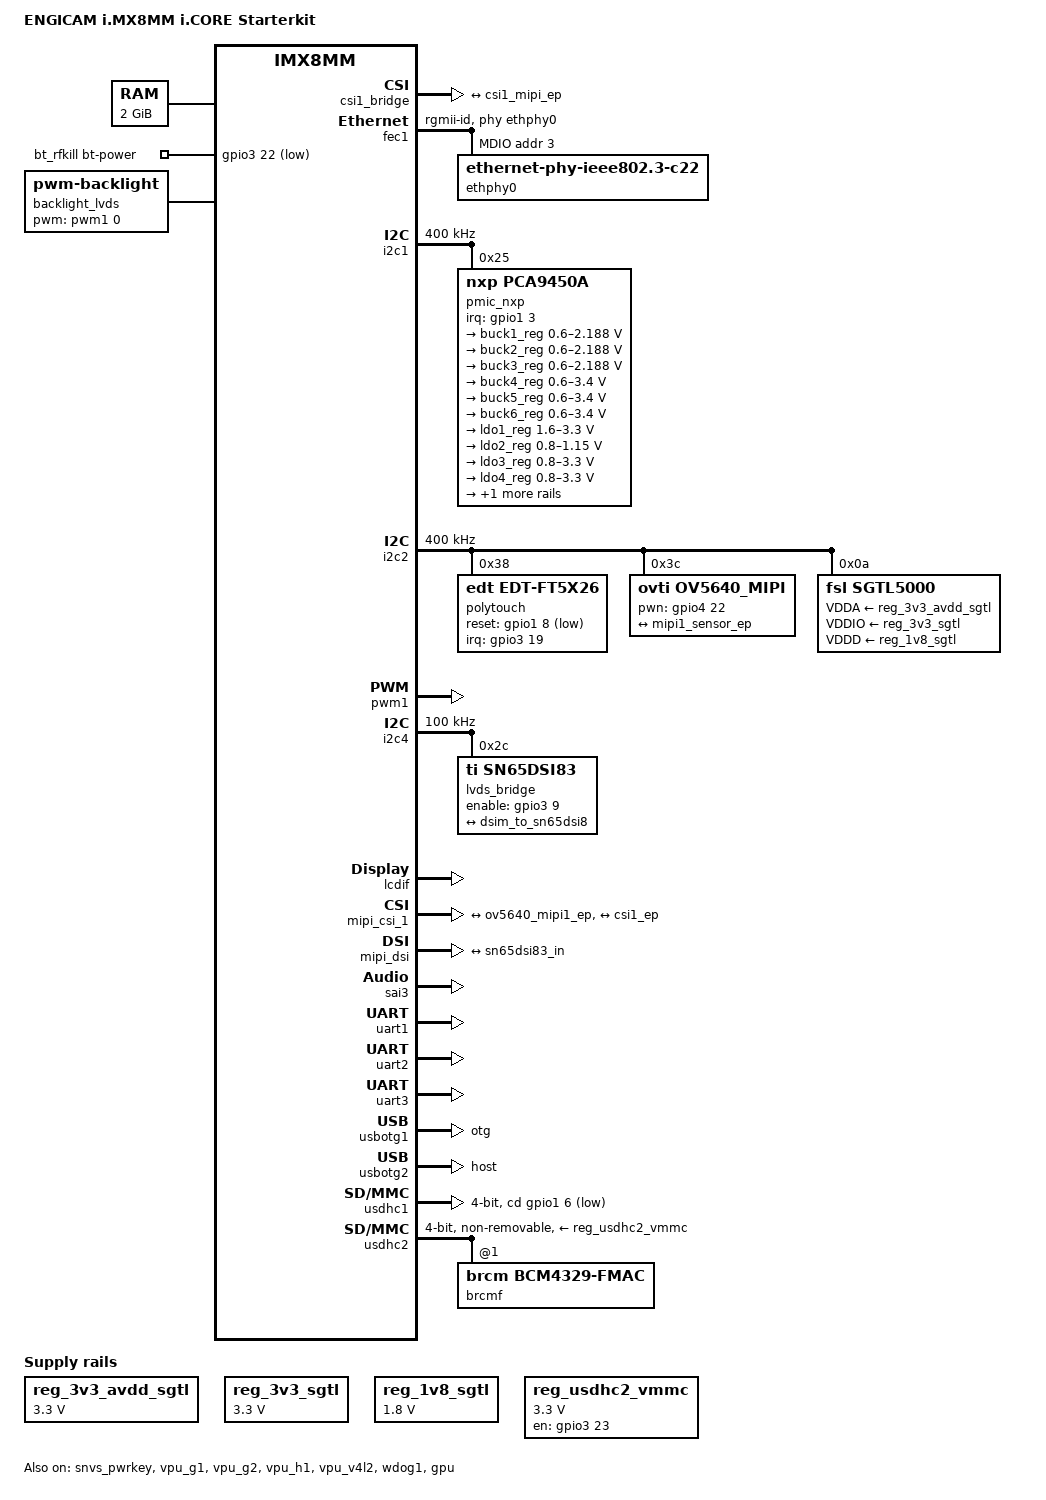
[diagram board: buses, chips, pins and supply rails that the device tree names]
// SPDX-License-Identifier: (GPL-2.0+ OR MIT)
/*
 * Copyright 2020 NXP
 */

/dts-v1/;

#include <dt-bindings/usb/pd.h>
#include "../freescale/imx8mm.dtsi"

/ {
	trusty {
		compatible = "android,trusty-smc-v1";
		ranges;
		#address-cells = <2>;
		#size-cells = <2>;
		trusty-irq {
			compatible = "android,trusty-irq-v1";
			interrupt-ranges = < 0 15 0>;
			ipi-range = <8 15 8>;
		};
		trusty-virtio {
			compatible = "android,trusty-virtio-v1";
		};
		trusty-log {
			compatible = "android,trusty-log-v1";
		};
	};
};

/ {
	firmware {
		android {
			compatible = "android,firmware";
			/* default emmc node used for GSI */
			boot_devices = "soc@0/30800000.bus/30b60000.mmc";
			/* sd card node which used if androidboot.boot_device_root=mmcblk0 */
			boot_devices_mmcblk0 = "soc@0/30800000.bus/30b40000.mmc";
			/* emmc node which used if androidboot.boot_device_root=mmcblk2 */
			boot_devices_mmcblk2 = "soc@0/30800000.bus/30b60000.mmc";
			fstab {
				compatible = "android,fstab";
				system {
					compatible = "android,system";
					dev = "system";
					type = "ext4";
					mnt_flags = "noatime,errors=panic,ro,barrier=1,inode_readahead_blks=8";
					fsmgr_flags = "wait,slotselect,avb,avb_keys=/avb,logical,first_stage_mount";
				};
				system_ext {
					compatible = "android,system_ext";
					dev = "system_ext";
					type = "ext4";
					mnt_flags = "noatime,ro,errors=panic";
					fsmgr_flags = "wait,slotselect,avb,logical,first_stage_mount";
				};
				vendor {
					compatible = "android,vendor";
					dev = "vendor";
					type = "ext4";
					mnt_flags = "noatime,errors=panic,ro,barrier=1,inode_readahead_blks=8";
					fsmgr_flags = "wait,slotselect,avb,logical,first_stage_mount";
				};
				product {
					compatible = "android,product";
					dev = "product";
					type = "ext4";
					mnt_flags = "noatime,errors=panic,ro,barrier=1,inode_readahead_blks=8";
					fsmgr_flags = "wait,slotselect,avb,logical,first_stage_mount";
				};
				metadata {
					compatible = "android,metadata";
					dev = "/dev/block/by-name/metadata";
					type = "ext4";
					mnt_flags = "noatime,nosuid,nodev,discard,sync";
					fsmgr_flags = "wait,formattable,first_stage_mount,check";
				};
			};
			vbmeta {
				/*we need use FirstStageMountVBootV2 if we enable avb*/
				compatible = "android,vbmeta";
				/*parts means the partition witch can be mount in first stage*/
				parts = "vbmeta,dtbo,boot,system,vendor,product";
			};
		};
	};
};

/ {
	model = "ENGICAM i.MX8MM i.CORE Starterkit";
	compatible = "eng,imx8mm-icore", "fsl,imx8mm-evk", "fsl,imx8mm";

	chosen {
		stdout-path = &uart2;
	};

	memory@40000000 {
		device_type = "memory";
		reg = <0x0 0x40000000 0 0x80000000>;
	};

	reg_3v3_avdd_sgtl: reg_3v3_avdd_regulator {
		compatible = "regulator-fixed";
		regulator-name = "3v3_avdd_sgtl";
		regulator-min-microvolt = <3300000>;
		regulator-max-microvolt = <3300000>;
		always-on;
	};

	reg_3v3_sgtl: reg_3v3_sgtl_regulator {
		compatible = "regulator-fixed";
		regulator-name = "3v3_sgtl";
		regulator-min-microvolt = <3300000>;
		regulator-max-microvolt = <3300000>;
		always-on;
	};

	reg_1v8_sgtl: reg_1v8_sgtl_regulator {
		compatible = "regulator-fixed";
		regulator-name = "1v8_sgtl";
		regulator-min-microvolt = <1800000>;
		regulator-max-microvolt = <1800000>;
		always-on;
	};

	reg_usdhc2_vmmc: regulator-usdhc2 {
		compatible = "regulator-fixed";
		pinctrl-names = "default";
		pinctrl-0 = <&pinctrl_reg_usdhc2_vmmc>;
		regulator-name = "WLAN_REG_ON";
		regulator-min-microvolt = <3300000>;
		regulator-max-microvolt = <3300000>;
		gpio = <&gpio3 23 GPIO_ACTIVE_HIGH>;
		enable-active-high;
	};

	bt_rfkill {
		compatible = "fsl,mxc_bt_rfkill";
		bt-power-gpios = <&gpio3 22 GPIO_ACTIVE_LOW>;
		reset-delay-us = <20000>;
		reset-post-delay-ms = <40>;
		status ="okay";
	};

	backlight_lvds: backlight_lvds {
		compatible = "pwm-backlight";
		pinctrl-names = "default";
		pinctrl-0 = <&pinctrl_pwm1>;
		pwms = <&pwm1 0 1000000>;
		brightness-levels = < 0  1  2  3  4  5  6  7  8  9
							10 11 12 13 14 15 16 17 18 19
							20 21 22 23 24 25 26 27 28 29
							30 31 32 33 34 35 36 37 38 39
							40 41 42 43 44 45 46 47 48 49
							50 51 52 53 54 55 56 57 58 59
							60 61 62 63 64 65 66 67 68 69
							70 71 72 73 74 75 76 77 78 79
							80 81 82 83 84 85 86 87 88 89
							90 91 92 93 94 95 96 97 98 99
							100>;
		default-brightness-level = <100>;
		status = "okay";
	};

	sound {
		compatible = "simple-audio-card";
		simple-audio-card,name = "imx8mm-sgtl5000";
		simple-audio-card,format = "i2s";
		simple-audio-card,bitclock-master = <&dailink_master>;
		simple-audio-card,frame-master = <&dailink_master>;
		/*simple-audio-card,mclk-fs = <1>;*/
		simple-audio-card,cpu {
			sound-dai = <&sai3>;
		};

		dailink_master: simple-audio-card,codec {
			sound-dai = <&sgtl5000>;
			clocks = <&clk IMX8MM_CLK_SAI3>;
		};
	};
};

&ddrc {
	operating-points-v2 = <&ddrc_opp_table>;

	ddrc_opp_table: opp-table {
		compatible = "operating-points-v2";

		opp-25M {
			opp-hz = /bits/ 64 <25000000>;
		};

		opp-100M {
			opp-hz = /bits/ 64 <100000000>;
		};

		opp-750M {
			opp-hz = /bits/ 64 <750000000>;
		};
	};
};

&A53_0 {
	cpu-supply = <&buck2_reg>;
};

&A53_1 {
	cpu-supply = <&buck2_reg>;
};

&A53_2 {
	cpu-supply = <&buck2_reg>;
};

&A53_3 {
	cpu-supply = <&buck2_reg>;
};

&csi1_bridge {
	fsl,mipi-mode;
	status = "okay";
	port {
		csi1_ep: endpoint {
			remote-endpoint = <&csi1_mipi_ep>;
		};
	};
};

&fec1 {
	pinctrl-names = "default";
	pinctrl-0 = <&pinctrl_fec1>;
	phy-mode = "rgmii-id";
	phy-handle = <&ethphy0>;
	fsl,magic-packet;
	status = "okay";

	mdio {
		#address-cells = <1>;
		#size-cells = <0>;

		ethphy0: ethernet-phy@3 {
			compatible = "ethernet-phy-ieee802.3-c22";
			reg = <3>;
			at803x,eee-disabled;
			at803x,vddio-1p8v;
		};
	};
};

&i2c1 {
	clock-frequency = <400000>;
	pinctrl-names = "default";
	pinctrl-0 = <&pinctrl_i2c1>;
	status = "okay";

	pmic_nxp: pca9450@25 {
		compatible = "nxp,pca9450a";
		reg = <0x25>;
		pinctrl-0 = <&pinctrl_pmic>;
		pinctrl-names = "default";
		interrupt-parent = <&gpio1>;
		interrupts = <3 IRQ_TYPE_LEVEL_LOW>;

		regulators {
			buck1_reg: BUCK1 {
				regulator-name = "BUCK1";
				regulator-min-microvolt = <600000>;
				regulator-max-microvolt = <2187500>;
				regulator-boot-on;
				regulator-always-on;
				regulator-ramp-delay = <3125>;
				nxp,dvs-run-voltage = <850000>;
				nxp,dvs-standby-voltage = <800000>;
			};

			buck2_reg: BUCK2 {
				regulator-name = "BUCK2";
				regulator-min-microvolt = <600000>;
				regulator-max-microvolt = <2187500>;
				regulator-boot-on;
				regulator-always-on;
				regulator-ramp-delay = <3125>;
			};

			buck3_reg: BUCK3 {
				regulator-name = "BUCK3";
				regulator-min-microvolt = <600000>;
				regulator-max-microvolt = <2187500>;
				regulator-boot-on;
				regulator-always-on;
			};

			buck4_reg: BUCK4 {
				regulator-name = "BUCK4";
				regulator-min-microvolt = <600000>;
				regulator-max-microvolt = <3400000>;
				regulator-boot-on;
				regulator-always-on;
			};

			buck5_reg: BUCK5 {
				regulator-name = "BUCK5";
				regulator-min-microvolt = <600000>;
				regulator-max-microvolt = <3400000>;
				regulator-boot-on;
				regulator-always-on;
			};

			buck6_reg: BUCK6 {
				regulator-name = "BUCK6";
				regulator-min-microvolt = <600000>;
				regulator-max-microvolt = <3400000>;
				regulator-boot-on;
				regulator-always-on;
			};

			ldo1_reg: LDO1 {
				regulator-name = "LDO1";
				regulator-min-microvolt = <1600000>;
				regulator-max-microvolt = <3300000>;
				regulator-boot-on;
				regulator-always-on;
			};

			ldo2_reg: LDO2 {
				regulator-name = "LDO2";
				regulator-min-microvolt = <800000>;
				regulator-max-microvolt = <1150000>;
				regulator-boot-on;
				regulator-always-on;
			};

			ldo3_reg: LDO3 {
				regulator-name = "LDO3";
				regulator-min-microvolt = <800000>;
				regulator-max-microvolt = <3300000>;
				regulator-boot-on;
				regulator-always-on;
			};

			ldo4_reg: LDO4 {
				regulator-name = "LDO4";
				regulator-min-microvolt = <800000>;
				regulator-max-microvolt = <3300000>;
				regulator-boot-on;
				regulator-always-on;
			};

			ldo5_reg: LDO5 {
				regulator-name = "LDO5";
				regulator-min-microvolt = <1800000>;
				regulator-max-microvolt = <3300000>;
			};
		};
	};
};

&i2c2 {
	clock-frequency = <400000>;
	pinctrl-names = "default";
	pinctrl-0 = <&pinctrl_i2c2>;
	status = "okay";

	polytouch: edt-ft5x26@38 {
		compatible = "edt,edt-ft5x26";
		reg = <0x38>;
		pinctrl-names = "default";
		pinctrl-0 = <&edt_ft5x06_pins>;
		interrupt-parent = <&gpio3>;
		interrupts = <19 IRQ_TYPE_EDGE_FALLING>;
		reset-gpios= <&gpio1 8 GPIO_ACTIVE_LOW>;
	};

	ov5640_mipi: ov5640_mipi@3c {
		compatible = "ovti,ov5640_mipi";
		reg = <0x3c>;
		status = "okay";
		pinctrl-names = "default";
		pinctrl-0 = <&pinctrl_csi_pwn>, <&pinctrl_csi_rst>;
		clocks = <&clk IMX8MM_CLK_CLKO1>;
		clock-names = "csi_mclk";
		assigned-clocks = <&clk IMX8MM_CLK_CLKO1>;
		assigned-clock-parents = <&clk IMX8MM_CLK_24M>;
		assigned-clock-rates = <24000000>;
		csi_id = <0>;
		pwn-gpios = <&gpio4 22 GPIO_ACTIVE_HIGH>;
		mclk = <24000000>;
		mclk_source = <0>;
		port {
			ov5640_mipi1_ep: endpoint {
				remote-endpoint = <&mipi1_sensor_ep>;
			};
		};
	};

	sgtl5000: codec@a {
		compatible = "fsl,sgtl5000";
		status = "okay";
		#sound-dai-cells = <0>;
		reg = <0x0a>;
		clocks = <&clk IMX8MM_CLK_SAI3>;
		clock-names = "mclk";
		assigned-clock-rates = <24576000>, <24576000>;
		VDDA-supply = <&reg_3v3_avdd_sgtl>;
		VDDIO-supply = <&reg_3v3_sgtl>;
		VDDD-supply = <&reg_1v8_sgtl>;
	};
};

&pwm1{
    status = "okay";
};

&i2c4 {
	clock-frequency = <100000>;
	pinctrl-names = "default";
	pinctrl-0 = <&pinctrl_i2c4>;
	status = "okay";

	lvds_bridge: sn65dsi83@2c {
		compatible = "ti,sn65dsi83";
		reg = <0x2c>;
		ti,dsi-lanes = <2>;
		ti,lvds-format = <2>;
		ti,lvds-bpp = <24>;
		ti,width-mm = <149>;
		ti,height-mm = <93>;
		enable-gpios = <&gpio3 9  GPIO_ACTIVE_HIGH>;
		pinctrl-names = "default";
		pinctrl-0 = <&pinctrl_dsi_lvds_bridge>;
		status = "okay";

		display-timings {
			lvds {
			clock-frequency = <62500000>;
			hactive = <1024>;
			vactive = <600>;
			hback-porch = <60>;
			hfront-porch = <50>;
			vback-porch = <2>;
			vfront-porch = <3>;
			hsync-len = <20>;
			vsync-len = <1>;
			hsync-active = <0>;
			vsync-active = <0>;
			de-active = <1>;
			pixelclk-active = <0>;
			};
	};

	port {
		sn65dsi83_in: endpoint {
			remote-endpoint = <&dsim_to_sn65dsi8>;
			};
		};
	};
};

&lcdif {
       trusty;
       status = "okay";
};

&mipi_csi_1 {
	#address-cells = <1>;
	#size-cells = <0>;
	status = "okay";
	port {
		mipi1_sensor_ep: endpoint@1 {
			remote-endpoint = <&ov5640_mipi1_ep>;
			data-lanes = <2>;
			csis-hs-settle = <13>;
			csis-clk-settle = <2>;
			csis-wclk;
		};

		csi1_mipi_ep: endpoint@2 {
			remote-endpoint = <&csi1_ep>;
		};
	};
};

&mipi_dsi {
	status = "okay";

	port@1 {
		dsim_to_sn65dsi8: endpoint {
			remote-endpoint = <&sn65dsi83_in>;
			attach-bridge;
		};
	};
};

&sai3 {
	pinctrl-names = "default";
	pinctrl-0 = <&pinctrl_sai3>;
	assigned-clocks = <&clk IMX8MM_CLK_SAI3>;
	assigned-clock-parents = <&clk IMX8MM_AUDIO_PLL1_OUT>;
	assigned-clock-rates = <24576000>;
	status = "okay";
};

&snvs_pwrkey {
	status = "okay";
};

&uart1 { /* BT */
	pinctrl-names = "default";
	pinctrl-0 = <&pinctrl_uart1>;
	assigned-clocks = <&clk IMX8MM_CLK_UART1>;
	assigned-clock-parents = <&clk IMX8MM_SYS_PLL1_80M>;
	fsl,uart-has-rtscts;
	status = "okay";
};

&uart2 { /* console */
	pinctrl-names = "default";
	pinctrl-0 = <&pinctrl_uart2>;
	status = "okay";
};

&uart3 {
	pinctrl-names = "default";
	pinctrl-0 = <&pinctrl_uart3>;
	assigned-clocks = <&clk IMX8MM_CLK_UART3>;
	assigned-clock-parents = <&clk IMX8MM_SYS_PLL1_80M>;
	fsl,uart-has-rtscts;
	status = "okay";
};

&usbotg1 {
	dr_mode = "otg";
	status = "okay";
};

&usbotg2 {
	dr_mode = "host";
	status = "okay";
};

&usdhc1 {
	pinctrl-names = "default";
	pinctrl-0 = <&pinctrl_usdhc1>, <&pinctrl_usdhc1_gpio>;
	cd-gpios = <&gpio1 6 GPIO_ACTIVE_LOW>;
	max-frequency = <50000000>;
	bus-width = <4>;
	no-1-8-v;
	pm-ignore-notify;
	keep-power-in-suspend;
	status = "okay";
};

&usdhc2 {
	assigned-clocks = <&clk IMX8MM_CLK_USDHC2>;
	assigned-clock-rates = <200000000>;
	pinctrl-names = "default";
	pinctrl-0 = <&pinctrl_usdhc2>;
	bus-width = <4>;
	vmmc-supply = <&reg_usdhc2_vmmc>;
	pm-ignore-notify;
	keep-power-in-suspend;
	non-removable;
	status = "okay";
	enable-sdio-wakeup;

	brcmf: bcrmf@1 {
		reg = <1>;
		compatible = "brcm,bcm4329-fmac";
	};	
};

&vpu_g1 {
	status = "okay";
};

&vpu_g2 {
	status = "okay";
};

&vpu_h1 {
	status = "okay";
};

&vpu_v4l2 {
	status = "okay";
};

&wdog1 {
	pinctrl-names = "default";
	pinctrl-0 = <&pinctrl_wdog>;
	fsl,ext-reset-output;
	status = "okay";
};

&gpu {
	status = "okay";
};

&iomuxc {

	edt_ft5x06_pins: edt-ft5x06-pins-grp{
		fsl,pins = <
			MX8MM_IOMUXC_SAI5_RXFS_GPIO3_IO19		0xc6
			MX8MM_IOMUXC_GPIO1_IO08_GPIO1_IO8		0x19
		>;
	};

	pinctrl_csi_pwn: csi_pwn_grp {
		fsl,pins = <
			MX8MM_IOMUXC_SAI2_RXC_GPIO4_IO22		0x19
		>;
	};

	pinctrl_csi_rst: csi_rst_grp {
		fsl,pins = <
			MX8MM_IOMUXC_GPIO1_IO12_GPIO1_IO12	0x59
		>;
	};

	pinctrl_pwm1: pwm1grp {
		fsl,pins = <
			MX8MM_IOMUXC_SPDIF_EXT_CLK_PWM1_OUT     0x19
		>;
	};

	pinctrl_dsi_lvds_bridge: lvds_bridge_gpio {
		fsl,pins = <
			MX8MM_IOMUXC_NAND_DATA03_GPIO3_IO9	0x19
			MX8MM_IOMUXC_NAND_DATA02_GPIO3_IO8	0x19
		>;
	};

	pinctrl_fec1: fec1grp {
		fsl,pins = <
			MX8MM_IOMUXC_ENET_MDC_ENET1_MDC			0x3
			MX8MM_IOMUXC_ENET_MDIO_ENET1_MDIO		0x3
			MX8MM_IOMUXC_ENET_TD3_ENET1_RGMII_TD3		0x1f
			MX8MM_IOMUXC_ENET_TD2_ENET1_RGMII_TD2		0x1f
			MX8MM_IOMUXC_ENET_TD1_ENET1_RGMII_TD1		0x1f
			MX8MM_IOMUXC_ENET_TD0_ENET1_RGMII_TD0		0x1f
			MX8MM_IOMUXC_ENET_RD3_ENET1_RGMII_RD3		0x91
			MX8MM_IOMUXC_ENET_RD2_ENET1_RGMII_RD2		0x91
			MX8MM_IOMUXC_ENET_RD1_ENET1_RGMII_RD1		0x91
			MX8MM_IOMUXC_ENET_RD0_ENET1_RGMII_RD0		0x91
			MX8MM_IOMUXC_ENET_TXC_ENET1_RGMII_TXC		0x1f
			MX8MM_IOMUXC_ENET_RXC_ENET1_RGMII_RXC		0x91
			MX8MM_IOMUXC_ENET_RX_CTL_ENET1_RGMII_RX_CTL	0x91
			MX8MM_IOMUXC_ENET_TX_CTL_ENET1_RGMII_TX_CTL	0x1f
		>;
	};

	pinctrl_i2c1: i2c1grp {
		fsl,pins = <
			MX8MM_IOMUXC_I2C1_SCL_I2C1_SCL			0x400001c3
			MX8MM_IOMUXC_I2C1_SDA_I2C1_SDA			0x400001c3
		>;
	};

	pinctrl_i2c2: i2c2grp {
		fsl,pins = <
			MX8MM_IOMUXC_I2C2_SCL_I2C2_SCL			0x400001c3
			MX8MM_IOMUXC_I2C2_SDA_I2C2_SDA			0x400001c3
		>;
	};

	pinctrl_i2c3: i2c3grp {
		fsl,pins = <
			MX8MM_IOMUXC_I2C3_SCL_I2C3_SCL			0x400001c3
			MX8MM_IOMUXC_I2C3_SDA_I2C3_SDA			0x400001c3
		>;
	};

	pinctrl_i2c4: i2c4grp {
		fsl,pins = <
			MX8MM_IOMUXC_I2C4_SCL_I2C4_SCL			0x400001c3
			MX8MM_IOMUXC_I2C4_SDA_I2C4_SDA			0x400001c3
		>;
	};

	pinctrl_pmic: pmicirqgrp {
		fsl,pins = <
			MX8MM_IOMUXC_GPIO1_IO03_GPIO1_IO3		0x141
		>;
	};

	pinctrl_reg_usdhc2_vmmc: regusdhc2vmmcgrp {
		fsl,pins = <
			MX8MM_IOMUXC_SAI5_RXD2_GPIO3_IO23	0x1C0
			MX8MM_IOMUXC_SAI5_RXD1_GPIO3_IO22	0x1C0
		>;
	};

	pinctrl_uart1: uart1grp {
		fsl,pins = <
			MX8MM_IOMUXC_UART1_RXD_UART1_DCE_RX     0x140
			MX8MM_IOMUXC_UART1_TXD_UART1_DCE_TX     0x140
			MX8MM_IOMUXC_UART3_RXD_UART1_DCE_CTS_B  0x140
			MX8MM_IOMUXC_UART3_TXD_UART1_DCE_RTS_B  0x140
		>;
	};

	pinctrl_uart2: uart2grp {
		fsl,pins = <
			MX8MM_IOMUXC_UART2_RXD_UART2_DCE_RX	0x140
			MX8MM_IOMUXC_UART2_TXD_UART2_DCE_TX	0x140
		>;
	};

	pinctrl_uart3: uart3grp {
		fsl,pins = <
			MX8MM_IOMUXC_ECSPI1_SCLK_UART3_DCE_RX           0x140
			MX8MM_IOMUXC_ECSPI1_MOSI_UART3_DCE_TX           0x140
			MX8MM_IOMUXC_ECSPI1_SS0_UART3_DCE_RTS_B         0x140
			MX8MM_IOMUXC_ECSPI1_MISO_UART3_DCE_CTS_B        0x140
		>;
	};

	pinctrl_usdhc1_gpio: usdhc1grpgpio {
		fsl,pins = <
			MX8MM_IOMUXC_GPIO1_IO06_GPIO1_IO6	0x41
		>;
	};

	pinctrl_usdhc1: usdhc1grp {
		fsl,pins = <
			MX8MM_IOMUXC_SD1_CLK_USDHC1_CLK		0x190
			MX8MM_IOMUXC_SD1_CMD_USDHC1_CMD		0x1d0
			MX8MM_IOMUXC_SD1_DATA0_USDHC1_DATA0	0x1d0
			MX8MM_IOMUXC_SD1_DATA1_USDHC1_DATA1	0x1d0
			MX8MM_IOMUXC_SD1_DATA2_USDHC1_DATA2	0x1d0
			MX8MM_IOMUXC_SD1_DATA3_USDHC1_DATA3	0x1d0
		>;
	};

	pinctrl_usdhc2: usdhc2grp {
		fsl,pins = <
			MX8MM_IOMUXC_SD2_CLK_USDHC2_CLK		0x190
			MX8MM_IOMUXC_SD2_CMD_USDHC2_CMD		0x1d0
			MX8MM_IOMUXC_SD2_DATA0_USDHC2_DATA0	0x1d0
			MX8MM_IOMUXC_SD2_DATA1_USDHC2_DATA1	0x1d0
			MX8MM_IOMUXC_SD2_DATA2_USDHC2_DATA2	0x1d0
			MX8MM_IOMUXC_SD2_DATA3_USDHC2_DATA3	0x1d0
			MX8MM_IOMUXC_GPIO1_IO04_USDHC2_VSELECT	0x1d0
		>;
	};

	pinctrl_sai3: sai3grp {
		fsl,pins = <
			MX8MM_IOMUXC_SAI3_TXFS_SAI3_TX_SYNC     0xd6
			MX8MM_IOMUXC_SAI3_TXC_SAI3_TX_BCLK      0xd6
			MX8MM_IOMUXC_SAI3_MCLK_SAI3_MCLK        0xd6
			MX8MM_IOMUXC_SAI3_TXD_SAI3_TX_DATA0     0xd6
		>;
	};

	pinctrl_wdog: wdoggrp {
		fsl,pins = <
			MX8MM_IOMUXC_GPIO1_IO02_WDOG1_WDOG_B	0xc6
		>;
	};
};
